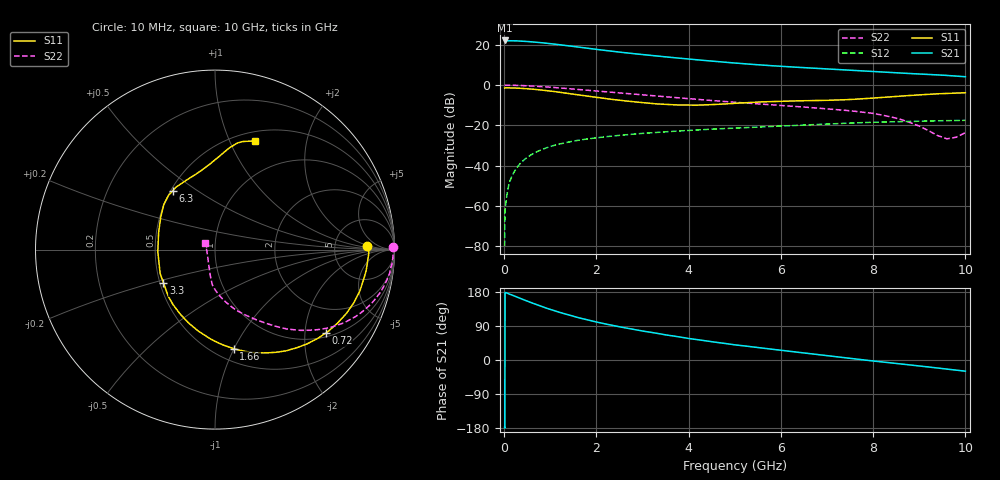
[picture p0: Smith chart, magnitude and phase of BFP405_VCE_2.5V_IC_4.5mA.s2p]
! Infineon Technologies  Discrete & RF Semiconductors
! BFP405
! VCE =  2.5 V,  IC =  4.5 mA
! Common Emitter S-Parameters:  Jan 2016
# GHz  S  MA  R  50
!  f  S11  S21  S12  S22
! GHz  MAG  ANG  MAG  ANG  MAG  ANG  MAG  ANG
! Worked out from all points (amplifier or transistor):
!   233 points, 10 MHz to 10 GHz, reference 50 ohm
!   highest |S21| = 22.2 dB at 10 MHz (marker M1)
!   |S21| within 3 dB of that: start of sweep to 1.507 GHz
!   unconditionally stable (mu >= 1): start of sweep to 12.74 MHz; 3.524 GHz to end of sweep
!   at 200 MHz: K = 0.08, MSG = 32.9 dB, |S12| = -43.7 dB
!   at 1.74 GHz: K = 0.52, MSG = 22.7 dB, |S12| = -27.0 dB
!   at 10 GHz: K = 1.47, MAG = 6.7 dB, |S12| = -17.5 dB
!   S11 on the Smith chart (normalised r, x): 10 MHz: 12, +1; 720 MHz: 1.11, -2.56; 1.66 GHz: 0.62, -0.99; 3.3 GHz: 0.52, -0.22; 6.3 GHz: 0.51, +0.40; 10 GHz: 0.60, +1.25
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0.01  0.8459 1.2  12.83 -177.6  0.0001 62.1  0.9892 1.0
0.02  0.8577 -0.9  12.71 178.2  0.0008 88.5  0.9895 -0.1
0.13  0.8509 -6.9  12.62 173.3  0.0043 86.2  0.9912 -3.2
0.4  0.8279 -21.0  12.31 160.1  0.0129 79.9  0.9726 -10.0
0.72  0.7728 -37.0  11.52 145.4  0.0224 72.1  0.9324 -17.5
0.9  0.7342 -45.7  11.02 137.5  0.0273 68.3  0.9037 -21.3
1.1  0.6888 -55.0  10.39 129.5  0.0322 64.3  0.8692 -25.3
1.4  0.6179 -68.4  9.426 118.6  0.0386 59.1  0.8152 -30.5
1.66  0.5608 -79.4  8.64 110.2  0.0435 55.1  0.7697 -34.4
1.68  0.5569 -80.2  8.581 109.5  0.0439 54.9  0.7662 -34.7
2  0.4953 -93.6  7.709 100.3  0.0492 50.9  0.714 -38.8
2.4  0.4332 -110.2  6.799 90.0  0.055 46.7  0.6549 -43.4
2.86  0.3808 -129.1  5.949 79.6  0.0613 42.6  0.5933 -48.1
3.3  0.3415 -147.3  5.283 70.7  0.0668 38.9  0.5383 -52.1
3.4  0.3365 -151.7  5.15 68.6  0.0681 38.1  0.5262 -53.1
4  0.3188 -177.9  4.436 56.8  0.075 33.6  0.4602 -58.9
5.1  0.3579 146.5  3.459 38.7  0.0867 26.1  0.3681 -69.3
6.3  0.4042 125.5  2.793 21.5  0.0995 18.8  0.2958 -78.7
6.8  0.4137 116.2  2.584 14.3  0.1054 15.5  0.268 -82.8
8.4  0.514 88.1  2.041 -7.8  0.1227 3.0  0.1607 -98.4
9.6  0.6221 75.5  1.736 -24.0  0.131 -6.1  0.0463 -164.9
10  0.6451 69.8  1.612 -29.5  0.1332 -8.6  0.0659 143.6
